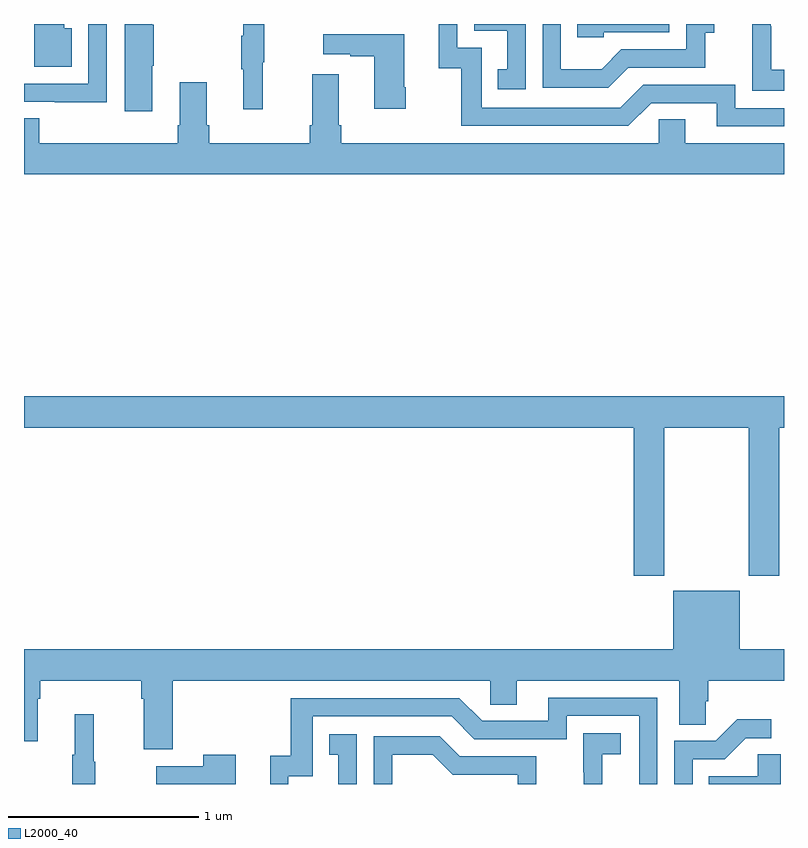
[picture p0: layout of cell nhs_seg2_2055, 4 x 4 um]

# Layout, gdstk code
import gdstk
lib = gdstk.Library(unit=1e-6, precision=1e-09)
def P(c, l, *ps):  # polygons
    for p in ps: c.add(gdstk.Polygon(p, *l))
L2000_40 = (2000, 40)

nhs_seg2_2055 = lib.new_cell('nhs_seg2_2055')
P(nhs_seg2_2055, L2000_40, [(220.256,609.6),(220.264,609.6),(220.264,609.8),(220.154,609.8),(220.154,609.737),(220.143,609.737),(220.143,609.563),(220.154,609.563),(220.154,609.351),(220.256,609.351)],
  [(219.25,609.778),(219.211,609.778),(219.211,609.8),(219.053,609.8),(219.053,609.575),(219.25,609.575)],
  [(219.676,609.58),(219.684,609.58),(219.684,609.797),(219.676,609.797),(219.676,609.8),(219.53,609.8),(219.53,609.342),(219.676,609.342)],
  [(219.435,609.8),(219.339,609.8),(219.339,609.486),(219,609.486),(219,609.39),(219.163,609.39),(219.163,609.389),(219.435,609.389)],
  [(221.64,609.8),(221.37,609.8),(221.37,609.765),(221.543,609.765),(221.543,609.561),(221.494,609.561),(221.494,609.456),(221.64,609.456)],
  [(222.051,609.756),(222.396,609.756),(222.396,609.8),(221.911,609.8),(221.911,609.729),(222.051,609.729)],
  [(223,609.559),(222.932,609.559),(222.932,609.788),(222.93,609.788),(222.93,609.8),(222.833,609.8),(222.833,609.655),(222.832,609.655),(222.832,609.449),(223,609.449)],
  [(222.181,609.57),(222.585,609.57),(222.585,609.755),(222.634,609.755),(222.634,609.8),(222.486,609.8),(222.486,609.666),(222.144,609.666),(222.04,609.562),(221.826,609.562),(221.826,609.8),(221.73,609.8),(221.73,609.465),(222.076,609.465)],
  [(223,609.357),(222.744,609.357),(222.744,609.48),(222.258,609.48),(222.138,609.36),(221.409,609.36),(221.409,609.675),(221.28,609.675),(221.28,609.8),(221.183,609.8),(221.183,609.567),(221.301,609.567),(221.301,609.264),(222.18,609.264),(222.3,609.384),(222.647,609.384),(222.647,609.261),(223,609.261)],
  [(221.01,609.466),(221.002,609.466),(221.002,609.745),(220.575,609.745),(220.575,609.641),(220.718,609.641),(220.718,609.631),(220.844,609.631),(220.844,609.354),(221.01,609.354)],
  [(223,609.172),(222.481,609.172),(222.481,609.299),(222.342,609.299),(222.342,609.172),(220.67,609.172),(220.67,609.268),(220.657,609.268),(220.657,609.535),(220.517,609.535),(220.517,609.268),(220.505,609.268),(220.505,609.172),(219.974,609.172),(219.974,609.268),(219.961,609.268),(219.961,609.493),(219.821,609.493),(219.821,609.268),(219.809,609.268),(219.809,609.172),(219.08,609.172),(219.08,609.305),(219,609.305),(219,609.008),(223,609.008)],
  [(222.369,607.676),(222.814,607.676),(222.814,606.897),(222.974,606.897),(222.974,607.676),(223,607.676),(223,607.84),(219,607.84),(219,607.676),(222.209,607.676),(222.209,606.897),(222.369,606.897)],
  [(219.782,606.344),(221.454,606.344),(221.454,606.217),(221.593,606.217),(221.593,606.344),(222.449,606.344),(222.449,606.112),(222.588,606.112),(222.588,606.235),(222.602,606.235),(222.602,606.344),(223,606.344),(223,606.508),(222.766,606.508),(222.766,606.817),(222.416,606.817),(222.416,606.508),(219,606.508),(219,606.024),(219.073,606.024),(219.073,606.248),(219.086,606.248),(219.086,606.344),(219.617,606.344),(219.617,606.248),(219.629,606.248),(219.629,605.982),(219.782,605.982)],
  [(220.392,605.841),(220.521,605.841),(220.521,606.156),(221.25,606.156),(221.37,606.036),(221.856,606.036),(221.856,606.159),(222.237,606.159),(222.237,605.8),(222.333,605.8),(222.333,606.255),(221.759,606.255),(221.759,606.132),(221.412,606.132),(221.292,606.252),(220.405,606.252),(220.405,605.95),(220.295,605.95),(220.295,605.8),(220.392,605.8)],
  [(219.376,605.916),(219.368,605.916),(219.368,606.166),(219.266,606.166),(219.266,605.953),(219.255,605.953),(219.255,605.8),(219.376,605.8)],
  [(222.519,605.931),(222.688,605.931),(222.799,606.042),(222.934,606.042),(222.934,606.14),(222.755,606.14),(222.642,606.027),(222.423,606.027),(222.423,605.8),(222.519,605.8)],
  [(222.044,605.957),(222.142,605.957),(222.142,606.067),(221.944,606.067),(221.944,605.861),(221.945,605.861),(221.945,605.8),(222.044,605.8)],
  [(220.752,606.061),(220.606,606.061),(220.606,605.955),(220.655,605.955),(220.655,605.8),(220.752,605.8)],
  [(220.938,605.954),(221.152,605.954),(221.256,605.85),(221.598,605.85),(221.598,605.8),(221.697,605.8),(221.697,605.946),(221.293,605.946),(221.188,606.051),(220.842,606.051),(220.842,605.8),(220.938,605.8)],
  [(222.982,605.957),(222.861,605.957),(222.861,605.842),(222.604,605.842),(222.604,605.8),(222.982,605.8)],
  [(220.114,605.953),(219.944,605.953),(219.944,605.893),(219.695,605.893),(219.695,605.8),(220.114,605.8)])

lib.write_gds('nhs_seg2_2055.gds')
